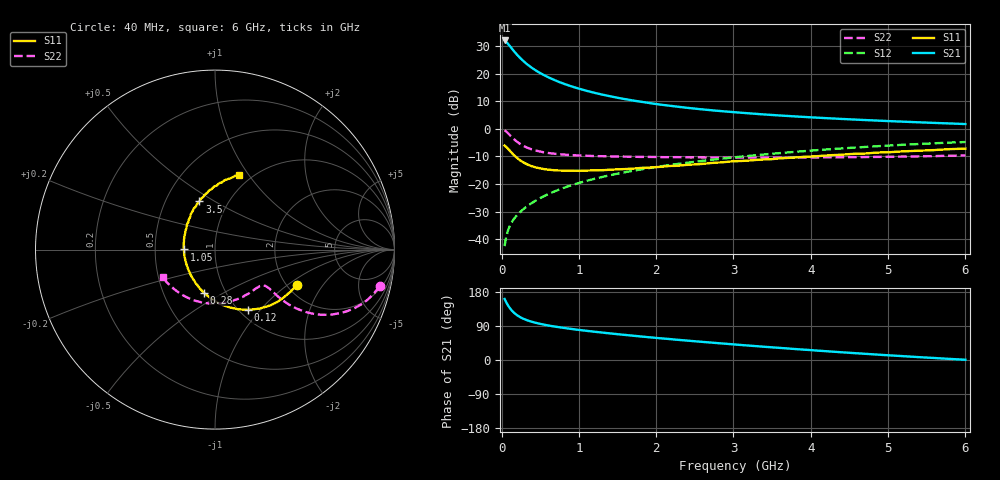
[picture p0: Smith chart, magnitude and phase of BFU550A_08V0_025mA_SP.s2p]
! Filename:  P:\Prog\Test\Noise\ATS_data\Testdata_Net\03 Spar\BFU550A_APG2013_35_C05_08p0V_025mA_SP_CM01_D.s2p
! Date/Time: Tue 16/Apr/2013 15:10:22
! BFU550A_APG2013_35_C05_08p0V_1to35mA_SP_CM01_Bias7_R.s2p
! MDIF S-parameter v. bias file
! BFU550A_APG2013_35_C05_08p0V_1to35mA_SP_CM01
! Date/time Mon Apr 15 16:50:27 2013
! VAR V_out= 8.0010
! VAR I_out= 25.0000
! VAR V_in= 0.8031
! VAR I_in= 0.2576
! Device data file deembeded for feedlines and parallel
! Original file: \03 Spar\BFU550A_APG2013_35_C05_08p0V_025mA_SP_CM01_R.s2p
! Feed-files: PR017V01_150413_Feed1.s2p, PR017V01_150413_Feed2.s2p
! Parallel-file: PR017V01_150413_Par.s2p
# MHz S MA R 50
!  Freq-MHz  S11-mag  S11-arg  S21-mag  S21-arg  S12-mag  S12-arg  S22-mag  S22-arg
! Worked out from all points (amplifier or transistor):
!   98 points, 40 MHz to 6 GHz, reference 50 ohm
!   highest |S21| = 32.0 dB at 40 MHz (marker M1)
!   |S21| within 3 dB of that: start of sweep to 135.8 MHz
!   unconditionally stable (mu >= 1): 977.4 MHz to 1.829 GHz
!   at 300 MHz: K = 0.82, MSG = 26.4 dB, |S12| = -28.8 dB
!   at 1.6 GHz: K = 1.00, MAG = 12.8 dB, |S12| = -15.7 dB
!   at 6 GHz: K = 0.91, MSG = 3.3 dB, |S12| = -4.8 dB
!   S11 on the Smith chart (normalised r, x): 40 MHz: 2.24, -1.18; 120 MHz: 1.09, -0.86; 280 MHz: 0.79, -0.40; 1.05 GHz: 0.70, +0.00; 3.5 GHz: 0.73, +0.43; 6 GHz: 0.88, +0.90
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40  0.4962 -23.6  39.78 161.2  0.007464 82.1  0.9394 -12.6
60  0.4673 -34.5  37.44 152.8  0.01085 78.3  0.8935 -18.3
80  0.4399 -44.6  35.05 145.6  0.01377 75.5  0.841 -23.0
100  0.4105 -53.3  32.43 139.2  0.01642 73.5  0.7878 -26.6
120  0.3818 -61.6  30.02 133.7  0.0188 72.2  0.7375 -29.5
160  0.3338 -75.3  25.55 125.0  0.02316 70.9  0.6508 -33.3
200  0.2965 -86.6  21.99 118.4  0.02711 70.5  0.5827 -35.3
240  0.2681 -96.2  19.23 113.3  0.03089 70.9  0.5317 -36.3
280  0.2472 -104.7  17.01 109.2  0.03463 71.3  0.4929 -36.8
320  0.2309 -112.0  15.19 105.8  0.03838 71.8  0.4626 -36.8
380  0.2123 -121.6  13.08 101.7  0.04402 72.4  0.4285 -36.6
460  0.1971 -132.4  11.01 97.3  0.05163 73.2  0.3982 -36.1
550  0.186 -143.1  9.356 93.2  0.06015 73.7  0.3732 -35.6
750  0.1752 -160.8  6.997 86.3  0.07959 74.0  0.3456 -35.8
1050  0.1735 179.6  5.092 78.2  0.109 73.3  0.3261 -38.1
1500  0.1844 158.4  3.648 68.1  0.1535 70.8  0.3133 -44.3
2050  0.2041 140.3  2.746 57.4  0.2077 66.7  0.3068 -54.2
3100  0.2606 115.2  1.951 39.6  0.3129 57.6  0.3005 -76.9
3500  0.282 107.9  1.776 33.4  0.3523 53.7  0.3024 -86.8
4100  0.3196 97.7  1.584 24.6  0.4112 47.7  0.303 -101.7
5200  0.3903 82.1  1.344 10.0  0.5135 35.8  0.3129 -129.8
6000  0.4364 72.2  1.217 0.7  0.5753 26.7  0.3273 -151.7
